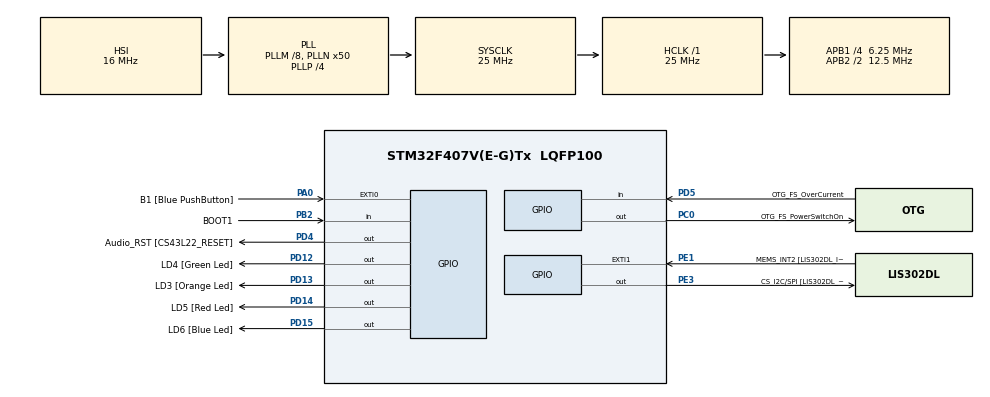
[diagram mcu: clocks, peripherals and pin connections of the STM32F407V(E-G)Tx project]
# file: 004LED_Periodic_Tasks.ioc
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Mcu.Family=STM32F4
Mcu.Name=STM32F407V(E-G)Tx
Mcu.Package=LQFP100
NVIC.PriorityGroup=NVIC_PRIORITYGROUP_4
NVIC.TIM6_DAC_IRQn=true\:15\:0\:false\:false\:true\:false\:true\:true
NVIC.TimeBase=TIM6_DAC_IRQn
NVIC.TimeBaseIP=TIM6
PA0-WKUP.GPIO_Label=B1 [Blue PushButton]
PA0-WKUP.Signal=GPXTI0
PA10.GPIO_Label=OTG_FS_ID
PA10.GPIO_Mode=GPIO_MODE_AF_PP
PA10.GPIO_PuPd=GPIO_NOPULL
PA10.GPIO_Speed=GPIO_SPEED_FREQ_LOW
PA10.Signal=USB_OTG_FS_ID
PA11.GPIO_Label=OTG_FS_DM
PA11.GPIO_Mode=GPIO_MODE_AF_PP
PA11.GPIO_PuPd=GPIO_NOPULL
PA11.GPIO_Speed=GPIO_SPEED_FREQ_LOW
PA11.Signal=USB_OTG_FS_DM
PA12.GPIO_Label=OTG_FS_DP
PA12.GPIO_Mode=GPIO_MODE_AF_PP
PA12.GPIO_PuPd=GPIO_NOPULL
PA12.GPIO_Speed=GPIO_SPEED_FREQ_LOW
PA12.Signal=USB_OTG_FS_DP
PA13.GPIO_Label=SWDIO
PA13.Signal=SYS_JTMS-SWDIO
PA14.GPIO_Label=SWCLK
PA14.Signal=SYS_JTCK-SWCLK
PA2.Signal=USART2_TX
PA3.Signal=USART2_RX
PA4.GPIO_Label=I2S3_WS [CS43L22_LRCK]
PA4.GPIO_Mode=GPIO_MODE_AF_PP
PA4.GPIO_PuPd=GPIO_NOPULL
PA4.GPIO_Speed=GPIO_SPEED_FREQ_LOW
PA4.Signal=I2S3_WS
PA5.GPIO_Label=SPI1_SCK [LIS302DL_SCL/SPC]
PA5.GPIO_Mode=GPIO_MODE_AF_PP
PA5.GPIO_PuPd=GPIO_NOPULL
PA5.GPIO_Speed=GPIO_SPEED_FREQ_LOW
PA5.Signal=SPI1_SCK
PA6.GPIO_Label=SPI1_MISO [LIS302DL_SDO]
PA6.GPIO_Mode=GPIO_MODE_AF_PP
PA6.GPIO_PuPd=GPIO_NOPULL
PA6.GPIO_Speed=GPIO_SPEED_FREQ_LOW
PA6.Signal=SPI1_MISO
PA7.GPIO_Label=SPI1_MOSI [LIS302DL_SDA/SDI/SDO]
PA7.GPIO_Mode=GPIO_MODE_AF_PP
PA7.GPIO_PuPd=GPIO_NOPULL
PA7.GPIO_Speed=GPIO_SPEED_FREQ_LOW
PA7.Signal=SPI1_MOSI
PA9.GPIO_Label=VBUS_FS
PA9.GPIO_Mode=GPIO_MODE_INPUT
PA9.GPIO_PuPd=GPIO_NOPULL
PA9.Signal=USB_OTG_FS_VBUS
PB10.GPIO_Label=CLK_IN [MP45DT02_CLK]
PB10.GPIO_Mode=GPIO_MODE_AF_PP
PB10.GPIO_PuPd=GPIO_NOPULL
PB10.GPIO_Speed=GPIO_SPEED_FREQ_LOW
PB10.Signal=I2S2_CK
PB2.GPIO_Label=BOOT1
PB2.GPIO_Mode=GPIO_MODE_INPUT
PB2.GPIO_PuPd=GPIO_NOPULL
PB2.Signal=GPIO_Input
PB3.GPIO_Label=SWO
PB3.Signal=SYS_JTDO-SWO
PB6.GPIO_Label=Audio_SCL [CS43L22_SCL]
PB6.GPIO_Mode=GPIO_MODE_AF_OD
PB6.GPIO_PuPd=GPIO_NOPULL
PB6.GPIO_Speed=GPIO_SPEED_FREQ_LOW
PB6.Signal=I2C1_SCL
PB9.GPIO_Label=Audio_SDA [CS43L22_SDA]
PB9.GPIO_Mode=GPIO_MODE_AF_OD
PB9.GPIO_PuPd=GPIO_NOPULL
PB9.GPIO_Speed=GPIO_SPEED_FREQ_LOW
PB9.Signal=I2C1_SDA
PC0.GPIO_Label=OTG_FS_PowerSwitchOn
PC0.GPIO_PuPd=GPIO_NOPULL
PC0.GPIO_Speed=GPIO_SPEED_FREQ_LOW
PC0.PinState=GPIO_PIN_SET
PC0.Signal=GPIO_Output
PC10.GPIO_Label=I2S3_SCK [CS43L22_SCLK]
PC10.GPIO_Mode=GPIO_MODE_AF_PP
PC10.GPIO_PuPd=GPIO_NOPULL
PC10.GPIO_Speed=GPIO_SPEED_FREQ_LOW
PC10.Signal=I2S3_CK
PC12.GPIO_Label=I2S3_SD [CS43L22_SDIN]
PC12.GPIO_Mode=GPIO_MODE_AF_PP
PC12.GPIO_PuPd=GPIO_NOPULL
PC12.GPIO_Speed=GPIO_SPEED_FREQ_LOW
PC12.Signal=I2S3_SD
PC14-OSC32_IN.GPIO_Label=PC14-OSC32_IN
PC14-OSC32_IN.Signal=RCC_OSC32_IN
PC15-OSC32_OUT.GPIO_Label=PC15-OSC32_OUT
PC15-OSC32_OUT.Signal=RCC_OSC32_OUT
PC3.GPIO_Label=PDM_OUT [MP45DT02_DOUT]
PC3.GPIO_Mode=GPIO_MODE_AF_PP
PC3.GPIO_PuPd=GPIO_NOPULL
PC3.GPIO_Speed=GPIO_SPEED_FREQ_LOW
PC3.Signal=I2S2_SD
PC7.GPIO_Label=I2S3_MCK [CS43L22_MCLK]
PC7.GPIO_Mode=GPIO_MODE_AF_PP
PC7.GPIO_PuPd=GPIO_NOPULL
PC7.GPIO_Speed=GPIO_SPEED_FREQ_LOW
PC7.Signal=I2S3_MCK
PD12.GPIO_Label=LD4 [Green Led]
PD12.GPIO_PuPd=GPIO_NOPULL
PD12.GPIO_Speed=GPIO_SPEED_FREQ_LOW
PD12.Signal=GPIO_Output
PD13.GPIO_Label=LD3 [Orange Led]
PD13.GPIO_PuPd=GPIO_NOPULL
PD13.GPIO_Speed=GPIO_SPEED_FREQ_LOW
PD13.Signal=GPIO_Output
PD14.GPIO_Label=LD5 [Red Led]
PD14.GPIO_PuPd=GPIO_NOPULL
PD14.GPIO_Speed=GPIO_SPEED_FREQ_LOW
PD14.Signal=GPIO_Output
PD15.GPIO_Label=LD6 [Blue Led]
PD15.GPIO_PuPd=GPIO_NOPULL
PD15.GPIO_Speed=GPIO_SPEED_FREQ_LOW
PD15.Signal=GPIO_Output
PD4.GPIO_Label=Audio_RST [CS43L22_RESET]
PD4.GPIO_PuPd=GPIO_NOPULL
PD4.GPIO_Speed=GPIO_SPEED_FREQ_LOW
PD4.Signal=GPIO_Output
PD5.GPIO_Label=OTG_FS_OverCurrent
PD5.GPIO_Mode=GPIO_MODE_INPUT
PD5.GPIO_PuPd=GPIO_NOPULL
PD5.Signal=GPIO_Input
PE1.GPIO_Label=MEMS_INT2 [LIS302DL_INT2]
PE1.GPIO_ModeDefaultEXTI=GPIO_MODE_EVT_RISING
PE1.GPIO_PuPd=GPIO_NOPULL
PE1.Signal=GPXTI1
PE3.GPIO_Label=CS_I2C/SPI [LIS302DL_CS_I2C/SPI]
PE3.GPIO_PuPd=GPIO_NOPULL
PE3.GPIO_Speed=GPIO_SPEED_FREQ_LOW
PE3.Signal=GPIO_Output
PH0-OSC_IN.GPIO_Label=PH0-OSC_IN
PH0-OSC_IN.Signal=RCC_OSC_IN
PH1-OSC_OUT.GPIO_Label=PH1-OSC_OUT
PH1-OSC_OUT.Signal=RCC_OSC_OUT
ProjectManager.HeapSize=0x200
ProjectManager.StackSize=0x400
ProjectManager.TargetToolchain=STM32CubeIDE
RCC.48MHZClocksFreq_Value=14285714.285714285
RCC.AHBFreq_Value=25000000
RCC.APB1CLKDivider=RCC_HCLK_DIV4
RCC.APB1Freq_Value=6250000
RCC.APB1TimFreq_Value=12500000
RCC.APB2CLKDivider=RCC_HCLK_DIV2
RCC.APB2Freq_Value=12500000
RCC.APB2TimFreq_Value=25000000
RCC.CortexFreq_Value=25000000
RCC.HCLKFreq_Value=25000000
RCC.HSE_VALUE=8000000
RCC.HSI_VALUE=16000000
RCC.LSE_VALUE=32768
RCC.PLLM=8
RCC.PLLN=50
RCC.PLLP=RCC_PLLP_DIV4
RCC.PLLQ=7
RCC.SYSCLKFreq_VALUE=25000000
RCC.SYSCLKSource=RCC_SYSCLKSOURCE_PLLCLK
RCC.VCOOutputFreq_Value=100000000
VP_SYS_VS_tim6.Mode=TIM6
board=STM32F407G-DISC1

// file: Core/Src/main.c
/* USER CODE BEGIN Header */
/**
  ******************************************************************************
  * @file           : main.c
  * @brief          : Main program body
  ******************************************************************************
  * @attention
  *
  * Copyright (c) 2026 STMicroelectronics.
  * All rights reserved.
  *
  * This software is licensed under terms that can be found in the LICENSE file
  * in the root directory of this software component.
  * If no LICENSE file comes with this software, it is provided AS-IS.
  *
  ******************************************************************************
  */
/* USER CODE END Header */
#include "main.h"

/* USER CODE BEGIN Includes */
#include <stdio.h>
#include "FreeRTOS.h"
#include "task.h"
/* USER CODE END Includes */

/* USER CODE BEGIN PV */

#define DWT_CTRL	(*(volatile uint32_t*)0xE0001000)
/* USER CODE END PV */

void SystemClock_Config(void);
static void MX_GPIO_Init(void);
/* USER CODE BEGIN PFP */
static void led_green_handler(void* parameters);
static void led_orange_handler(void* parameters);
static void led_red_handler(void* parameters);
extern void SEGGER_UART_init(uint32_t);
/* USER CODE END PFP */

int main(void)
{

  /* USER CODE BEGIN 1 */
	TaskHandle_t task1_handle;
	TaskHandle_t task2_handle;
	TaskHandle_t task3_handle;

	BaseType_t status;
  /* USER CODE END 1 */

  /* MCU Configuration--------------------------------------------------------*/

  /* Reset of all peripherals, Initializes the Flash interface and the Systick. */
  HAL_Init();

  /* Configure the system clock */
  SystemClock_Config();

  /* Initialize all configured peripherals */
  MX_GPIO_Init();
  /* USER CODE BEGIN 2 */
  SEGGER_UART_init(250000);

  DWT_CTRL |= (1 << 0);

  SEGGER_SYSVIEW_Conf();

  status = xTaskCreate(led_green_handler, "LED_green_task", 200, NULL, 2, &task1_handle);

  configASSERT(status == pdPASS);

  status = xTaskCreate(led_red_handler, "LED_red_task", 200, NULL, 2, &task2_handle);

  configASSERT(status == pdPASS);

  status = xTaskCreate(led_orange_handler, "LED_orange_task", 200, NULL, 2, &task3_handle);

  configASSERT(status == pdPASS);

  //start the freeRTOS scheduler
  vTaskStartScheduler();

  /* USER CODE END 2 */

  /* Infinite loop */
  while (1)
  {

  }
}

void SystemClock_Config(void)
{
  RCC_OscInitTypeDef RCC_OscInitStruct = {0};
  RCC_ClkInitTypeDef RCC_ClkInitStruct = {0};

  /** Configure the main internal regulator output voltage
  */
  __HAL_RCC_PWR_CLK_ENABLE();
  __HAL_PWR_VOLTAGESCALING_CONFIG(PWR_REGULATOR_VOLTAGE_SCALE1);

  /** Initializes the RCC Oscillators according to the specified parameters
  * in the RCC_OscInitTypeDef structure.
  */
  RCC_OscInitStruct.OscillatorType = RCC_OSCILLATORTYPE_HSI;
  RCC_OscInitStruct.HSIState = RCC_HSI_ON;
  RCC_OscInitStruct.HSICalibrationValue = RCC_HSICALIBRATION_DEFAULT;
  RCC_OscInitStruct.PLL.PLLState = RCC_PLL_ON;
  RCC_OscInitStruct.PLL.PLLSource = RCC_PLLSOURCE_HSI;
  RCC_OscInitStruct.PLL.PLLM = 8;
  RCC_OscInitStruct.PLL.PLLN = 50;
  RCC_OscInitStruct.PLL.PLLP = RCC_PLLP_DIV4;
  RCC_OscInitStruct.PLL.PLLQ = 7;
  if (HAL_RCC_OscConfig(&RCC_OscInitStruct) != HAL_OK)
  {
    Error_Handler();
  }

  /** Initializes the CPU, AHB and APB buses clocks
  */
  RCC_ClkInitStruct.ClockType = RCC_CLOCKTYPE_HCLK|RCC_CLOCKTYPE_SYSCLK
                              |RCC_CLOCKTYPE_PCLK1|RCC_CLOCKTYPE_PCLK2;
  RCC_ClkInitStruct.SYSCLKSource = RCC_SYSCLKSOURCE_PLLCLK;
  RCC_ClkInitStruct.AHBCLKDivider = RCC_SYSCLK_DIV1;
  RCC_ClkInitStruct.APB1CLKDivider = RCC_HCLK_DIV4;
  RCC_ClkInitStruct.APB2CLKDivider = RCC_HCLK_DIV2;

  if (HAL_RCC_ClockConfig(&RCC_ClkInitStruct, FLASH_LATENCY_0) != HAL_OK)
  {
    Error_Handler();
  }
}

static void MX_GPIO_Init(void)
{
  GPIO_InitTypeDef GPIO_InitStruct = {0};

  /* GPIO Ports Clock Enable */
  __HAL_RCC_GPIOE_CLK_ENABLE();
  __HAL_RCC_GPIOC_CLK_ENABLE();
  __HAL_RCC_GPIOH_CLK_ENABLE();
  __HAL_RCC_GPIOA_CLK_ENABLE();
  __HAL_RCC_GPIOB_CLK_ENABLE();
  __HAL_RCC_GPIOD_CLK_ENABLE();

  /*Configure GPIO pin Output Level */
  HAL_GPIO_WritePin(CS_I2C_SPI_GPIO_Port, CS_I2C_SPI_Pin, GPIO_PIN_RESET);

  /*Configure GPIO pin Output Level */
  HAL_GPIO_WritePin(OTG_FS_PowerSwitchOn_GPIO_Port, OTG_FS_PowerSwitchOn_Pin, GPIO_PIN_SET);

  /*Configure GPIO pin Output Level */
  HAL_GPIO_WritePin(GPIOD, LD4_Pin|LD3_Pin|LD5_Pin|LD6_Pin
                          |Audio_RST_Pin, GPIO_PIN_RESET);

  /*Configure GPIO pin : CS_I2C_SPI_Pin */
  GPIO_InitStruct.Pin = CS_I2C_SPI_Pin;
  GPIO_InitStruct.Mode = GPIO_MODE_OUTPUT_PP;
  GPIO_InitStruct.Pull = GPIO_NOPULL;
  GPIO_InitStruct.Speed = GPIO_SPEED_FREQ_LOW;
  HAL_GPIO_Init(CS_I2C_SPI_GPIO_Port, &GPIO_InitStruct);

  /*Configure GPIO pin : OTG_FS_PowerSwitchOn_Pin */
  GPIO_InitStruct.Pin = OTG_FS_PowerSwitchOn_Pin;
  GPIO_InitStruct.Mode = GPIO_MODE_OUTPUT_PP;
  GPIO_InitStruct.Pull = GPIO_NOPULL;
  GPIO_InitStruct.Speed = GPIO_SPEED_FREQ_LOW;
  HAL_GPIO_Init(OTG_FS_PowerSwitchOn_GPIO_Port, &GPIO_InitStruct);

  /*Configure GPIO pin : PDM_OUT_Pin */
  GPIO_InitStruct.Pin = PDM_OUT_Pin;
  GPIO_InitStruct.Mode = GPIO_MODE_AF_PP;
  GPIO_InitStruct.Pull = GPIO_NOPULL;
  GPIO_InitStruct.Speed = GPIO_SPEED_FREQ_LOW;
  GPIO_InitStruct.Alternate = GPIO_AF5_SPI2;
  HAL_GPIO_Init(PDM_OUT_GPIO_Port, &GPIO_InitStruct);

  /*Configure GPIO pin : B1_Pin */
  GPIO_InitStruct.Pin = B1_Pin;
  GPIO_InitStruct.Mode = GPIO_MODE_IT_RISING;
  GPIO_InitStruct.Pull = GPIO_NOPULL;
  HAL_GPIO_Init(B1_GPIO_Port, &GPIO_InitStruct);

  /*Configure GPIO pins : PA2 PA3 */
  GPIO_InitStruct.Pin = GPIO_PIN_2|GPIO_PIN_3;
  GPIO_InitStruct.Mode = GPIO_MODE_AF_PP;
  GPIO_InitStruct.Pull = GPIO_NOPULL;
  GPIO_InitStruct.Speed = GPIO_SPEED_FREQ_VERY_HIGH;
  GPIO_InitStruct.Alternate = GPIO_AF7_USART2;
  HAL_GPIO_Init(GPIOA, &GPIO_InitStruct);

  /*Configure GPIO pin : I2S3_WS_Pin */
  GPIO_InitStruct.Pin = I2S3_WS_Pin;
  GPIO_InitStruct.Mode = GPIO_MODE_AF_PP;
  GPIO_InitStruct.Pull = GPIO_NOPULL;
  GPIO_InitStruct.Speed = GPIO_SPEED_FREQ_LOW;
  GPIO_InitStruct.Alternate = GPIO_AF6_SPI3;
  HAL_GPIO_Init(I2S3_WS_GPIO_Port, &GPIO_InitStruct);

  /*Configure GPIO pins : SPI1_SCK_Pin SPI1_MISO_Pin SPI1_MOSI_Pin */
  GPIO_InitStruct.Pin = SPI1_SCK_Pin|SPI1_MISO_Pin|SPI1_MOSI_Pin;
  GPIO_InitStruct.Mode = GPIO_MODE_AF_PP;
  GPIO_InitStruct.Pull = GPIO_NOPULL;
  GPIO_InitStruct.Speed = GPIO_SPEED_FREQ_LOW;
  GPIO_InitStruct.Alternate = GPIO_AF5_SPI1;
  HAL_GPIO_Init(GPIOA, &GPIO_InitStruct);

  /*Configure GPIO pin : BOOT1_Pin */
  GPIO_InitStruct.Pin = BOOT1_Pin;
  GPIO_InitStruct.Mode = GPIO_MODE_INPUT;
  GPIO_InitStruct.Pull = GPIO_NOPULL;
  HAL_GPIO_Init(BOOT1_GPIO_Port, &GPIO_InitStruct);

  /*Configure GPIO pin : CLK_IN_Pin */
  GPIO_InitStruct.Pin = CLK_IN_Pin;
  GPIO_InitStruct.Mode = GPIO_MODE_AF_PP;
  GPIO_InitStruct.Pull = GPIO_NOPULL;
  GPIO_InitStruct.Speed = GPIO_SPEED_FREQ_LOW;
  GPIO_InitStruct.Alternate = GPIO_AF5_SPI2;
  HAL_GPIO_Init(CLK_IN_GPIO_Port, &GPIO_InitStruct);

  /*Configure GPIO pins : LD4_Pin LD3_Pin LD5_Pin LD6_Pin
                           Audio_RST_Pin */
  GPIO_InitStruct.Pin = LD4_Pin|LD3_Pin|LD5_Pin|LD6_Pin
                          |Audio_RST_Pin;
  GPIO_InitStruct.Mode = GPIO_MODE_OUTPUT_PP;
  GPIO_InitStruct.Pull = GPIO_NOPULL;
  GPIO_InitStruct.Speed = GPIO_SPEED_FREQ_LOW;
  HAL_GPIO_Init(GPIOD, &GPIO_InitStruct);

  /*Configure GPIO pins : I2S3_MCK_Pin I2S3_SCK_Pin I2S3_SD_Pin */
  GPIO_InitStruct.Pin = I2S3_MCK_Pin|I2S3_SCK_Pin|I2S3_SD_Pin;
  GPIO_InitStruct.Mode = GPIO_MODE_AF_PP;
  GPIO_InitStruct.Pull = GPIO_NOPULL;
  GPIO_InitStruct.Speed = GPIO_SPEED_FREQ_LOW;
  GPIO_InitStruct.Alternate = GPIO_AF6_SPI3;
  HAL_GPIO_Init(GPIOC, &GPIO_InitStruct);

  /*Configure GPIO pin : VBUS_FS_Pin */
  GPIO_InitStruct.Pin = VBUS_FS_Pin;
  GPIO_InitStruct.Mode = GPIO_MODE_INPUT;
  GPIO_InitStruct.Pull = GPIO_NOPULL;
  HAL_GPIO_Init(VBUS_FS_GPIO_Port, &GPIO_InitStruct);

  /*Configure GPIO pins : OTG_FS_ID_Pin OTG_FS_DM_Pin OTG_FS_DP_Pin */
  GPIO_InitStruct.Pin = OTG_FS_ID_Pin|OTG_FS_DM_Pin|OTG_FS_DP_Pin;
  GPIO_InitStruct.Mode = GPIO_MODE_AF_PP;
  GPIO_InitStruct.Pull = GPIO_NOPULL;
  GPIO_InitStruct.Speed = GPIO_SPEED_FREQ_LOW;
  GPIO_InitStruct.Alternate = GPIO_AF10_OTG_FS;
  HAL_GPIO_Init(GPIOA, &GPIO_InitStruct);

  /*Configure GPIO pin : OTG_FS_OverCurrent_Pin */
  GPIO_InitStruct.Pin = OTG_FS_OverCurrent_Pin;
  GPIO_InitStruct.Mode = GPIO_MODE_INPUT;
  GPIO_InitStruct.Pull = GPIO_NOPULL;
  HAL_GPIO_Init(OTG_FS_OverCurrent_GPIO_Port, &GPIO_InitStruct);

  /*Configure GPIO pins : Audio_SCL_Pin Audio_SDA_Pin */
  GPIO_InitStruct.Pin = Audio_SCL_Pin|Audio_SDA_Pin;
  GPIO_InitStruct.Mode = GPIO_MODE_AF_OD;
  GPIO_InitStruct.Pull = GPIO_NOPULL;
  GPIO_InitStruct.Speed = GPIO_SPEED_FREQ_LOW;
  GPIO_InitStruct.Alternate = GPIO_AF4_I2C1;
  HAL_GPIO_Init(GPIOB, &GPIO_InitStruct);

  /*Configure GPIO pin : MEMS_INT2_Pin */
  GPIO_InitStruct.Pin = MEMS_INT2_Pin;
  GPIO_InitStruct.Mode = GPIO_MODE_EVT_RISING;
  GPIO_InitStruct.Pull = GPIO_NOPULL;
  HAL_GPIO_Init(MEMS_INT2_GPIO_Port, &GPIO_InitStruct);

}

/* USER CODE BEGIN 4 */
static void led_green_handler(void* parameters){
	TickType_t last_wakeup_time;

	last_wakeup_time = xTaskGetTickCount();

	while(1){
		SEGGER_SYSVIEW_PrintfTarget("Toggling green LED");
		HAL_GPIO_TogglePin(GPIOD, LED_GREEN_PIN);
		vTaskDelayUntil(&last_wakeup_time,pdMS_TO_TICKS(1000));
	}
}
static void led_orange_handler(void* parameters){
	TickType_t last_wakeup_time;

	last_wakeup_time = xTaskGetTickCount();

	while(1){
		SEGGER_SYSVIEW_PrintfTarget("Toggling orange LED");
		HAL_GPIO_TogglePin(GPIOD, LED_ORANGE_PIN);
		vTaskDelayUntil(&last_wakeup_time,pdMS_TO_TICKS(800));
	}
}
static void led_red_handler(void* parameters){
	TickType_t last_wakeup_time;

	last_wakeup_time = xTaskGetTickCount();
	while(1){
		SEGGER_SYSVIEW_PrintfTarget("Toggling red LED");
		HAL_GPIO_TogglePin(GPIOD, LED_RED_PIN);
		vTaskDelayUntil(&last_wakeup_time,pdMS_TO_TICKS(400));
	}
}
/* USER CODE END 4 */

void HAL_TIM_PeriodElapsedCallback(TIM_HandleTypeDef *htim)
{
  if (htim->Instance == TIM6)
  {
    HAL_IncTick();
  }
}

void Error_Handler(void)
{
  __disable_irq();
  while (1)
  {
  }
}
